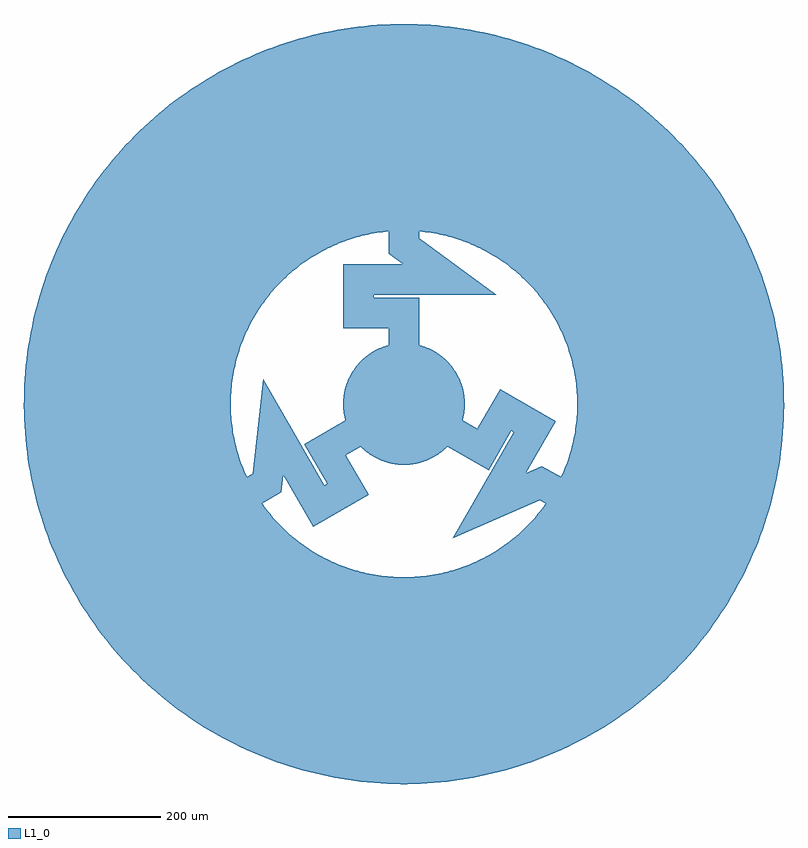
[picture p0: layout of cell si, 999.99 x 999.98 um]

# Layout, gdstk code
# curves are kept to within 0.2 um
import gdstk
lib = gdstk.Library(unit=1e-6, precision=1e-09)
def P(c, l, *ps):  # polygons
    for p in ps: c.add(gdstk.Polygon(p, *l))
L1_0 = (1, 0)

c_si = lib.new_cell('si')
P(c_si, L1_0, [(-0.7,-79.997),(-7.689,-79.63),(-15.993,-78.385),(-24.121,-76.277),(-30.696,-73.877),(-37.035,-70.911),(-44.264,-66.639),(-51.005,-61.632),(-57.184,-55.946),(-61.855,-50.735),(-66.832,-43.972),(-71.073,-36.724),(-74.531,-29.072),(-77.167,-21.1),(-78.716,-14.275),(-79.663,-7.34),(-79.993,1.05),(-79.595,8.037),(-78.314,16.336),(-76.171,24.455),(-73.188,32.304),(-69.398,39.798),(-65.655,45.711),(-60.502,52.341),(-55.696,57.428),(-49.369,62.95),(-43.679,67.024),(-37.654,70.585),(-30.048,74.143),(-22.111,76.884),(-13.93,78.778),(-6.992,79.694),(1.4,79.988),(9.777,79.4),(16.679,78.242),(24.788,76.063),(32.624,73.046),(40.101,69.224),(45.998,65.454),(52.605,60.272),(57.671,55.444),(63.165,49.093),(67.214,43.385),(71.391,36.101),(74.782,28.419),(76.98,21.774),(78.838,13.585),(79.724,6.643),(79.981,-1.75),(79.357,-10.124),(78.168,-17.021),(75.954,-25.121),(73.468,-31.663),(69.744,-39.189),(66.052,-45.134),(61.855,-50.735),(56.196,-56.939),(51.005,-61.632),(44.264,-66.639),(37.035,-70.911),(30.696,-73.877),(22.783,-76.687),(14.619,-78.653),(7.689,-79.63)],
  [(-4.375,-499.981),(-30.609,-499.062),(-56.759,-496.768),(-82.752,-493.105),(-99.958,-489.907),(-125.531,-483.985),(-150.759,-476.73),(-175.57,-468.161),(-199.898,-458.302),(-215.815,-451.025),(-239.188,-439.078),(-261.902,-425.92),(-283.894,-411.588),(-305.103,-396.121),(-325.472,-379.563),(-344.944,-361.959),(-357.4,-349.665),(-375.258,-330.426),(-392.082,-310.277),(-407.826,-289.272),(-417.699,-274.822),(-431.547,-252.522),(-440.12,-237.265),(-451.965,-213.839),(-462.565,-189.825),(-471.89,-165.287),(-479.914,-140.294),(-486.616,-114.914),(-491.976,-89.217),(-494.797,-71.945),(-497.891,-45.878),(-499.612,-19.685),(-499.957,6.563),(-499.421,24.056),(-498.273,41.519),(-495.408,67.612),(-491.176,93.519),(-485.591,119.168),(-478.668,144.488),(-473.318,161.151),(-467.389,177.617),(-457.423,201.902),(-450.077,217.786),(-444.971,228),(0,228),(-15.949,227.442),(-27.863,226.291),(-43.624,223.788),(-55.309,221.19),(-70.646,216.779),(-81.925,212.773),(-96.608,206.521),(-107.313,201.166),(-117.723,195.257),(-131.093,186.544),(-143.821,176.917),(-152.907,169.125),(-161.573,160.867),(-172.43,149.171),(-180.021,139.916),(-189.367,126.981),(-195.77,116.868),(-203.466,102.887),(-208.585,92.067),(-214.514,77.251),(-218.273,65.887),(-222.347,50.457),(-225.332,34.78),(-226.846,22.906),(-227.736,10.969),(-227.945,-4.988),(-227.37,-16.944),(-225.627,-32.807),(-223.595,-44.603),(-219.927,-60.134),(-215.182,-75.371),(-210.93,-86.56),(-204.358,-101.103),(-198.77,-111.688),(-190.471,-125.319),(-183.631,-135.142),(-173.728,-147.657),(-165.74,-156.571),(-154.382,-167.781),(-145.363,-175.652),(-132.72,-185.39),(-122.808,-192.099),(-112.557,-198.28),(-98.412,-205.668),(-83.784,-212.048),(-72.54,-216.153),(-61.096,-219.662),(-45.581,-223.397),(-29.842,-226.039),(-17.938,-227.293),(-1.995,-227.991),(9.973,-227.782),(25.882,-226.526),(37.735,-224.856),(53.371,-221.665),(64.931,-218.559),(80.06,-213.482),(91.154,-208.986),(105.549,-202.098),(116.01,-196.28),(129.456,-187.684),(139.127,-180.631),(151.422,-170.457),(160.159,-162.275),(168.454,-153.646),(176.286,-144.593),(185.968,-131.908),(192.635,-121.966),(198.77,-111.688),(204.358,-101.103),(209.383,-90.238),(215.182,-75.371),(218.841,-63.974),(221.897,-52.401),(224.341,-40.683),(226.167,-28.853),(227.37,-16.944),(227.998,-0.998),(227.736,10.969),(226.846,22.906),(225.332,34.78),(223.196,46.558),(220.445,58.207),(215.833,73.485),(210.164,88.403),(205.235,99.311),(199.74,109.945),(193.695,120.276),(187.116,130.276),(180.021,139.916),(169.793,152.166),(161.573,160.867),(152.907,169.125),(143.821,176.917),(134.338,184.221),(124.484,191.017),(110.818,199.257),(100.208,204.799),(89.321,209.775),(74.429,215.51),(59.171,220.188),(43.624,223.788),(31.819,225.769),(15.949,227.442),(0,228),(-444.971,228),(-438.027,241.107),(-429.321,256.289),(-420.088,271.156),(-410.341,285.692),(-400.092,299.878),(-389.352,313.696),(-378.135,327.13),(-366.455,340.163),(-354.326,352.779),(-341.763,364.963),(-328.781,376.7),(-315.396,387.976),(-301.625,398.776),(-287.485,409.087),(-272.992,418.898),(-258.165,428.195),(-243.021,436.968),(-227.58,445.205),(-211.86,452.897),(-195.88,460.034),(-179.66,466.607),(-163.221,472.609),(-146.581,478.031),(-129.762,482.868),(-112.783,487.114),(-95.667,490.763),(-69.779,495.107),(-52.409,497.246),(-34.975,498.775),(-17.498,499.694),(0,500),(17.498,499.694),(43.699,498.087),(69.779,495.107),(95.667,490.763),(121.291,485.065),(146.581,478.031),(171.467,469.68),(195.88,460.034),(211.86,452.897),(235.337,441.154),(258.165,428.195),(280.281,414.056),(294.6,403.994),(315.396,387.976),(335.323,370.888),(354.326,352.779),(372.352,333.697),(389.352,313.696),(405.279,292.83),(415.278,278.467),(429.321,256.289),(442.179,233.404),(453.819,209.876),(464.209,185.77),(473.318,161.151),(481.124,136.089),(487.603,110.651),(491.176,93.519),(495.408,67.612),(498.273,41.519),(499.421,24.056),(499.995,-2.188),(499.191,-28.425),(497.012,-54.584),(494.797,-71.945),(490.339,-97.813),(486.616,-114.914),(479.914,-140.294),(471.89,-165.287),(462.565,-189.825),(451.965,-213.839),(440.12,-237.265),(427.061,-260.036),(412.826,-282.09),(402.701,-296.365),(386.592,-317.091),(369.418,-336.943),(351.225,-355.866),(332.065,-373.809),(311.989,-390.721),(291.054,-406.556),(269.316,-421.271),(254.408,-430.438),(231.467,-443.196),(207.888,-454.733),(183.737,-465.017),(159.079,-474.019),(142.392,-479.296),(117.042,-486.108),(91.369,-491.581),(65.444,-495.699),(39.339,-498.45),(13.125,-499.828)])
c_si.add(gdstk.FlexPath([(0,0),(0,120),(-60,120),(-60,164),(60,164),(60,164),(0,208),(0,228)], 40, ends="flush", simple_path=True, layer=1, datatype=0))  # L1_0
c_si.add(gdstk.FlexPath([(0,0),(-103.923,-60),(-73.923,-111.962),(-112.028,-133.962),(-172.028,-30.038),(-172.028,-30.038),(-180.133,-104),(-197.454,-114)], 40, ends="flush", simple_path=True, layer=1, datatype=0))  # L1_0
c_si.add(gdstk.FlexPath([(0,0),(103.923,-60),(133.923,-8.038),(172.028,-30.038),(112.028,-133.962),(112.028,-133.962),(180.133,-104),(197.454,-114)], 40, ends="flush", simple_path=True, layer=1, datatype=0))  # L1_0

lib.write_gds('si.gds')
